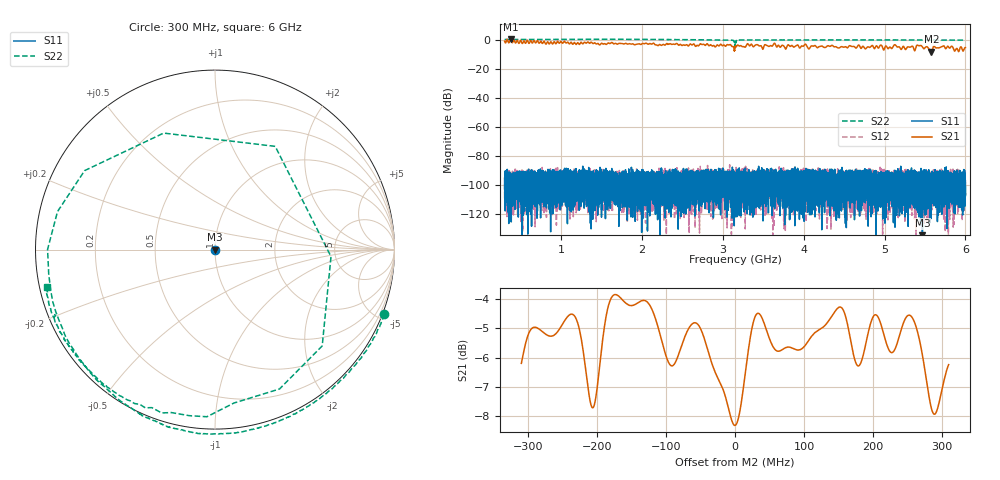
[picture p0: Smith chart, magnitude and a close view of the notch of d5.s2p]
!Agilent Technologies,N5230C,SG49000117,A.08.50.07
!Agilent N5230C: A.08.50.07
!Date: Sunday, March 17, 2024 00:57:17
!Correction: S11(Off)
!S21(Off)
!S12(Off)
!S22(Full 1 Port(2))
!S2P File: Measurements: S11, S21, S12, S22:
# Hz S  RI  R 50
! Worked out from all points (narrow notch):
!   20001 points, 300 MHz to 6 GHz, reference 50 ohm
!   highest |S21| = 0.36 dB at 373.2 MHz (marker M1); lowest = -8.3 dB at 5.578 GHz (marker M2)
!   notch at M2: 4.4 dB deep, 51.5 MHz wide at half that depth
!   lowest |S11| = -136.9 dB at 5.468 GHz (marker M3), VSWR 1.00, Z = 50 - j7.27e-06 ohm
!   |S11| at or under -10 dB: start of sweep to end of sweep
!   |S22| runs from -4.6 to 0.3 dB; largest |S21 - S12| = 1
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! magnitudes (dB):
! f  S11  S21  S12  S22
! 300 MHz  -102.9  -1.1  -108.9  0.1
! 373.2 MHz  -100.2  0.4  -91.6  0.1
! 1.25 GHz  -99.9  -1.9  -90.5  0.2
! 2.2 GHz  -100.8  -4.1  -108.6  0.1
! 3.073 GHz  -104.0  -3.7  -100.2  -0.3
! 3.15 GHz  -95.7  -5.6  -94.6  -4.5
! 3.326 GHz  -102.0  -4.3  -99.5  -0.2
! 3.48 GHz  -93.7  -5.0  -94.8  -0.2
! 3.629 GHz  -102.6  -3.0  -100.7  -0.2
! 3.769 GHz  -99.2  -6.0  -97.7  -0.2
! 4.1 GHz  -106.7  -4.3  -106.5  -0.2
! 5.05 GHz  -95.9  -6.0  -93.8  -0.2
! 5.13 GHz  -96.7  -3.6  -95.6  -0.2
! 5.193 GHz  -99.2  -5.9  -88.6  -0.2
! 5.368 GHz  -100.7  -7.4  -101.7  -0.2
! 5.424 GHz  -91.2  -4.2  -106.5  -0.2
! 5.468 GHz  -136.9  -5.1  -93.5  -0.3
! 5.578 GHz  -99.2  -8.3  -98.9  -0.3
! 5.622 GHz  -93.7  -4.9  -97.6  -0.3
! 5.716 GHz  -92.0  -4.7  -111.7  -0.3
! 5.892 GHz  -103.2  -6.1  -92.5  -0.4
! 6 GHz  -106.0  -5.5  -106.9  -0.4
